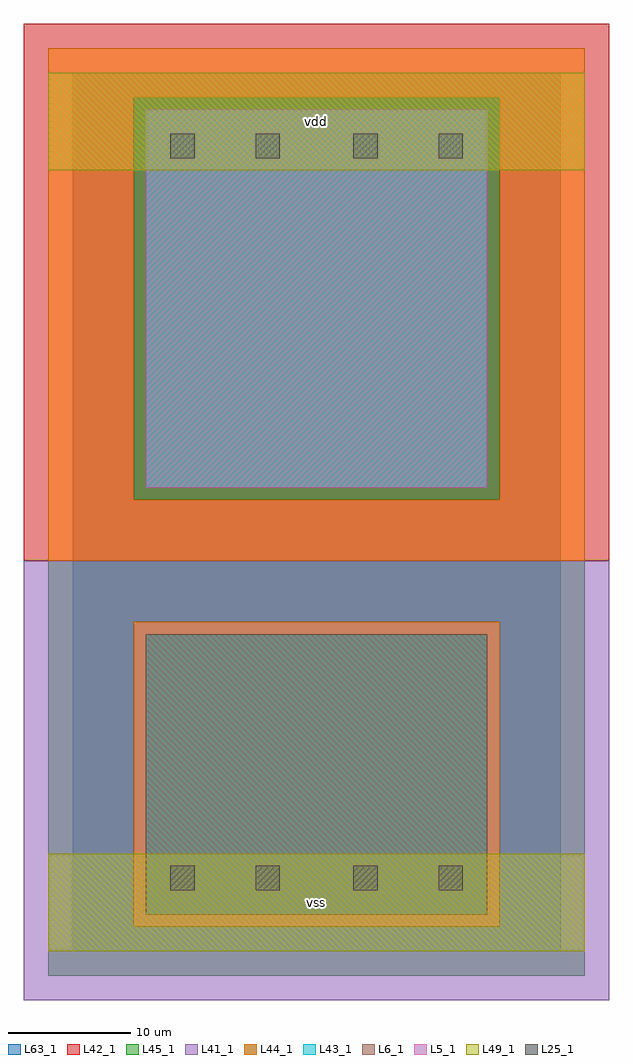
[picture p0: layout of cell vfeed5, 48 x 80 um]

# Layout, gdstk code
import gdstk
lib = gdstk.Library(unit=1e-6, precision=1e-09)
def R(c, l, rs):  # rectangles x0, y0, x1, y1
    for r in rs: c.add(gdstk.rectangle(r[:2], r[2:], *l))
L5_1 = (5, 1)
L6_1 = (6, 1)
L25_1 = (25, 1)
L41_1 = (41, 1)
L42_1 = (42, 1)
L43_1 = (43, 1)
L44_1 = (44, 1)
L45_1 = (45, 1)
L49_1 = (49, 1)
L63_1 = (63, 1)

vfeed5 = lib.new_cell('vfeed5')
R(vfeed5, L5_1, [(6,38,34,69)])
R(vfeed5, L6_1, [(6,3,34,26), (6,3,34,26)])
R(vfeed5, L25_1, [(8,5,10,7), (15,5,17,7), (23,5,25,7), (30,5,32,7), (8,65,10,67), (15,65,17,67), (23,65,25,67), (30,65,32,67)])
R(vfeed5, L41_1, [(-4,-4,44,32)])
R(vfeed5, L42_1, [(-4,32,44,76)])
R(vfeed5, L43_1, [(6,3,34,26), (6,38,34,69)])
R(vfeed5, L44_1, [(5,2,35,27), (-2,32,42,37), (-2,37,5,70), (35,37,42,70), (-2,70,42,74)])
R(vfeed5, L45_1, [(-2,-2,42,2), (-2,2,5,27), (35,2,42,27), (-2,27,42,32), (5,37,35,70)])
R(vfeed5, L49_1, [(-2,0,42,8), (-2,64,42,72)])
R(vfeed5, L63_1, [(0,0,40,72)])
vfeed5.add(gdstk.Label('vss', (20,4), layer=49, texttype=1))
vfeed5.add(gdstk.Label('vdd', (20,68), layer=49, texttype=1))

lib.write_gds('vfeed5.gds')
